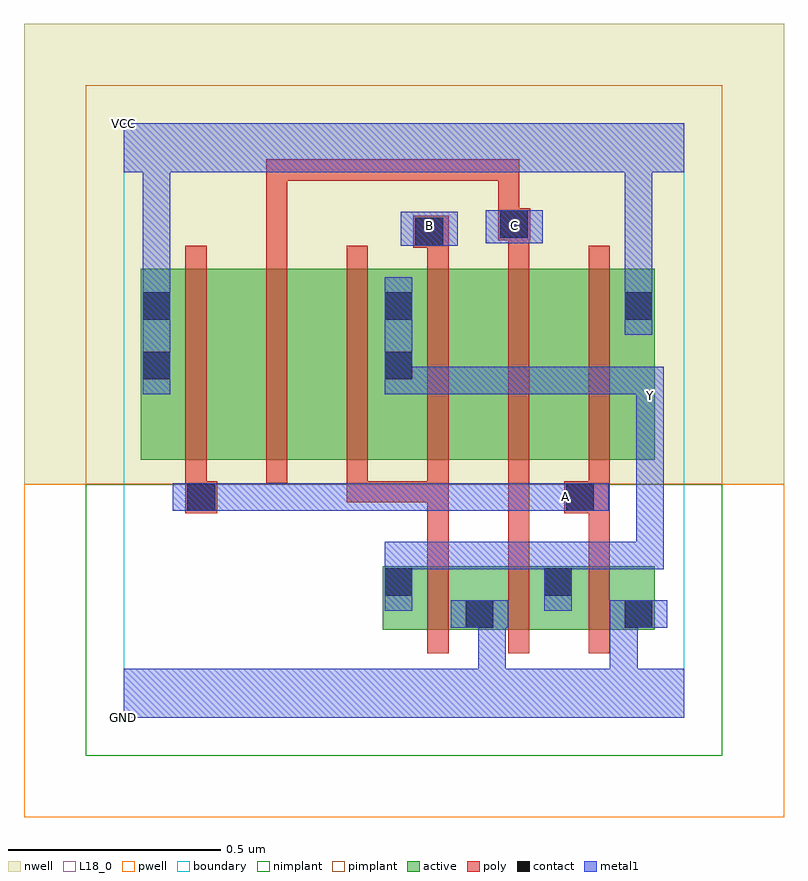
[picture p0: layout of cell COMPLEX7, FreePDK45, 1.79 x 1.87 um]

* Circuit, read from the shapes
.subckt COMPLEX7 A B C GND VCC Y
M1 GND B Y VSUBS nfet w=0.15u l=0.05u
M2 Y C GND VSUBS nfet w=0.15u l=0.05u
M3 GND A Y VSUBS nfet w=0.15u l=0.05u
M4 n1 A VCC n2 pfet w=0.45u l=0.05u
M5 n3 C n1 n2 pfet w=0.45u l=0.05u
M6 Y B n3 n2 pfet w=0.45u l=0.05u
M7 n4 B Y n2 pfet w=0.45u l=0.05u
M8 n5 C n4 n2 pfet w=0.45u l=0.05u
M9 VCC A n5 n2 pfet w=0.45u l=0.05u
.ends

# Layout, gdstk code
import gdstk
lib = gdstk.Library(unit=1e-6, precision=1e-09)
def R(c, l, rs):  # rectangles x0, y0, x1, y1
    for r in rs: c.add(gdstk.rectangle(r[:2], r[2:], *l))
def A(c, l, x, y, w, h, nx, ny, dx, dy):  # array of equal rectangles
    R(c, l, [(x+i*dx, y+j*dy, x+i*dx+w, y+j*dy+h) for i in range(nx) for j in range(ny)])
active = (1, 0)
pwell = (2, 0)
nwell = (3, 0)
nimplant = (4, 0)
pimplant = (5, 0)
poly = (9, 0)
contact = (10, 0)
metal1 = (11, 0)
L18_0 = (18, 0)
boundary = (235, 0)

complex7 = lib.new_cell('COMPLEX7')
R(complex7, active, [(0.61,0.207,0.685,0.357), (0.61,0.207,0.875,0.357), (0.8,0.207,0.875,0.357), (0.8,0.207,1.06,0.357), (0.985,0.207,1.06,0.357), (0.985,0.207,1.25,0.357), (1.175,0.207,1.25,0.357), (0.04,0.607,0.265,1.057), (0.04,0.607,0.115,1.055), (0.265,0.607,0.455,1.057), (0.455,0.607,0.685,1.057), (0.61,0.607,0.835,1.057), (0.835,0.607,1.025,1.057), (1.025,0.607,1.25,1.057), (1.175,0.625,1.25,1.057), (0.61,0.635,0.685,1.055)])
R(complex7, pwell, [(-0.235,-0.235,1.555,0.55)])
R(complex7, nwell, [(-0.235,0.55,1.555,1.635)])
R(complex7, nimplant, [(-0.09,-0.09,1.41,0.55)])
R(complex7, pimplant, [(-0.09,0.55,1.41,1.49)])
A(complex7, poly, 0.715, 0.152, 0.05, 0.26, 3, 1, 0.19, 0)
A(complex7, poly, 0.525, 0.507, 0.05, 0.095, 4, 1, 0.19, 0)
A(complex7, poly, 0.145, 0.552, 0.05, 0.56, 6, 1, 0.19, 0)
R(complex7, poly, [(0.715,0.362,0.765,0.557), (0.905,0.362,0.955,0.557), (1.095,0.362,1.145,0.532), (0.145,0.482,0.22,0.557), (1.037,0.482,1.145,0.557), (0.145,0.507,0.195,0.602), (0.525,0.507,0.575,0.557), (0.525,0.507,0.765,0.557), (0.715,0.507,0.765,0.557), (0.715,0.507,0.765,0.557), (0.715,0.507,0.765,0.557), (0.905,0.507,0.955,0.557), (0.335,1.062,0.385,1.315), (0.715,1.062,0.765,1.157), (0.905,1.062,0.955,1.175), (0.682,1.107,0.765,1.182), (0.882,1.125,0.957,1.2), (0.882,1.15,0.932,1.2), (0.882,1.15,0.932,1.2), (0.882,1.15,0.932,1.315), (0.335,1.265,0.385,1.315), (0.335,1.265,0.385,1.315), (0.335,1.265,0.385,1.315), (0.335,1.265,0.6,1.315), (0.55,1.265,0.6,1.315), (0.55,1.265,0.6,1.315), (0.55,1.265,0.6,1.315), (0.55,1.265,0.6,1.315), (0.55,1.265,0.6,1.315), (0.55,1.265,0.8,1.315), (0.75,1.265,0.8,1.315), (0.75,1.265,0.932,1.315), (0.882,1.265,0.932,1.315)])
R(complex7, contact, [(0.805,0.212,0.87,0.277), (1.18,0.212,1.245,0.277), (0.615,0.287,0.68,0.352), (0.99,0.287,1.055,0.352), (0.15,0.487,0.215,0.552), (1.042,0.487,1.107,0.552), (0.045,0.797,0.11,0.862), (0.615,0.797,0.68,0.862), (0.045,0.937,0.11,1.002), (0.615,0.937,0.68,1.002), (1.18,0.937,1.245,1.002), (0.687,1.112,0.752,1.177), (0.887,1.13,0.952,1.195)])
R(complex7, metal1, [(0,0,1.32,0.115), (0.835,0.05,0.9,0.277), (1.145,0.05,1.21,0.115), (1.145,0.05,1.21,0.115), (1.145,0.05,1.21,0.115), (1.145,0.05,1.21,0.115), (1.145,0.05,1.21,0.277), (0.77,0.212,0.905,0.277), (0.835,0.212,0.9,0.277), (0.835,0.212,0.9,0.277), (0.835,0.212,0.9,0.277), (0.835,0.212,0.9,0.277), (1.145,0.212,1.28,0.277), (0.615,0.252,0.68,0.387), (0.99,0.252,1.055,0.415), (0.615,0.322,0.68,0.387), (0.615,0.322,0.68,0.415), (0.615,0.35,0.835,0.415), (0.77,0.35,0.835,0.415), (0.77,0.35,0.835,0.415), (0.77,0.35,0.835,0.415), (0.77,0.35,1.055,0.415), (0.99,0.35,1.272,0.415), (1.207,0.35,1.272,0.415), (1.207,0.35,1.272,0.415), (1.207,0.35,1.272,0.415), (1.207,0.35,1.272,0.757), (0.115,0.487,0.25,0.552), (0.185,0.487,0.25,0.552), (0.185,0.487,0.25,0.552), (0.185,0.487,0.387,0.552), (0.322,0.487,0.387,0.552), (0.322,0.487,0.525,0.552), (0.46,0.487,0.525,0.552), (0.46,0.487,0.525,0.552), (0.46,0.487,0.525,0.552), (0.46,0.487,0.697,0.552), (0.632,0.487,0.697,0.552), (0.632,0.487,0.697,0.552), (0.632,0.487,0.697,0.552), (0.632,0.487,0.835,0.552), (0.77,0.487,0.835,0.552), (0.77,0.487,0.835,0.552), (0.77,0.487,0.835,0.552), (0.77,0.487,1.037,0.552), (0.972,0.487,1.037,0.552), (0.972,0.487,1.037,0.552), (0.972,0.487,1.142,0.552), (1.207,0.692,1.272,0.827), (0.045,0.762,0.11,1.037), (0.615,0.762,0.68,0.827), (0.615,0.762,0.68,0.827), (0.615,0.762,0.835,0.827), (0.615,0.762,0.68,1.037), (0.77,0.762,0.835,0.827), (0.77,0.762,0.835,0.827), (0.77,0.762,0.835,0.827), (0.77,0.762,1.042,0.827), (0.977,0.762,1.042,0.827), (0.977,0.762,1.272,0.827), (1.207,0.762,1.272,0.827), (1.207,0.762,1.272,0.827), (1.207,0.762,1.272,0.827), (1.207,0.762,1.272,0.827), (1.18,0.902,1.245,1.037), (0.045,0.972,0.11,1.35), (1.18,0.972,1.245,1.35), (1.18,0.972,1.245,1.037), (1.18,0.972,1.245,1.037), (0.652,1.112,0.787,1.192), (0.852,1.117,0.987,1.195), (0,1.285,1.32,1.4), (0.045,1.285,0.11,1.35), (0.045,1.285,0.11,1.35), (0.045,1.285,0.11,1.35), (0.045,1.285,0.11,1.35), (1.18,1.285,1.245,1.35), (1.18,1.285,1.245,1.35)])
R(complex7, L18_0, [(0,0,1.32,0.115), (0.835,0.05,0.9,0.277), (1.145,0.05,1.21,0.115), (1.145,0.05,1.21,0.115), (1.145,0.05,1.21,0.115), (1.145,0.05,1.21,0.115), (1.145,0.05,1.21,0.277), (0.77,0.212,0.905,0.277), (0.835,0.212,0.9,0.277), (0.835,0.212,0.9,0.277), (0.835,0.212,0.9,0.277), (0.835,0.212,0.9,0.277), (1.145,0.212,1.28,0.277), (0.615,0.252,0.68,0.387), (0.99,0.252,1.055,0.415), (0.615,0.322,0.68,0.387), (0.615,0.322,0.68,0.415), (0.615,0.35,0.835,0.415), (0.77,0.35,0.835,0.415), (0.77,0.35,0.835,0.415), (0.77,0.35,0.835,0.415), (0.77,0.35,1.055,0.415), (0.99,0.35,1.272,0.415), (1.207,0.35,1.272,0.415), (1.207,0.35,1.272,0.415), (1.207,0.35,1.272,0.415), (1.207,0.35,1.272,0.757), (0.115,0.487,0.25,0.552), (0.185,0.487,0.25,0.552), (0.185,0.487,0.25,0.552), (0.185,0.487,0.387,0.552), (0.322,0.487,0.387,0.552), (0.322,0.487,0.525,0.552), (0.46,0.487,0.525,0.552), (0.46,0.487,0.525,0.552), (0.46,0.487,0.525,0.552), (0.46,0.487,0.697,0.552), (0.632,0.487,0.697,0.552), (0.632,0.487,0.697,0.552), (0.632,0.487,0.697,0.552), (0.632,0.487,0.835,0.552), (0.77,0.487,0.835,0.552), (0.77,0.487,0.835,0.552), (0.77,0.487,0.835,0.552), (0.77,0.487,1.037,0.552), (0.972,0.487,1.037,0.552), (0.972,0.487,1.037,0.552), (0.972,0.487,1.142,0.552), (1.007,0.487,1.072,0.552), (1.207,0.692,1.272,0.827), (1.207,0.727,1.272,0.792), (0.045,0.762,0.11,1.037), (0.615,0.762,0.68,1.037), (0.615,0.762,0.68,0.827), (0.615,0.762,0.68,0.827), (0.615,0.762,0.835,0.827), (0.77,0.762,0.835,0.827), (0.77,0.762,0.835,0.827), (0.77,0.762,0.835,0.827), (0.77,0.762,1.042,0.827), (0.977,0.762,1.042,0.827), (0.977,0.762,1.272,0.827), (1.207,0.762,1.272,0.827), (1.207,0.762,1.272,0.827), (1.207,0.762,1.272,0.827), (1.207,0.762,1.272,0.827), (1.18,0.902,1.245,1.037), (0.045,0.972,0.11,1.35), (1.18,0.972,1.245,1.037), (1.18,0.972,1.245,1.037), (1.18,0.972,1.245,1.35), (0.652,1.112,0.787,1.192), (0.852,1.117,0.987,1.195), (0.687,1.127,0.752,1.192), (0.887,1.127,0.952,1.192), (0,1.285,1.32,1.4), (0.045,1.285,0.11,1.35), (0.045,1.285,0.11,1.35), (0.045,1.285,0.11,1.35), (0.045,1.285,0.11,1.35), (1.18,1.285,1.245,1.35), (1.18,1.285,1.245,1.35)])
R(complex7, boundary, [(0,0,1.32,1.4)])
complex7.add(gdstk.Label('A', (1.04,0.52), layer=11, texttype=0))
complex7.add(gdstk.Label('B', (0.72,1.16), layer=11, texttype=0))
complex7.add(gdstk.Label('C', (0.92,1.16), layer=11, texttype=0))
complex7.add(gdstk.Label('Y', (1.24,0.76), layer=11, texttype=0))
complex7.add(gdstk.Label('VCC', (0,1.4), layer=11, texttype=0))
complex7.add(gdstk.Label('GND', (0,0), layer=11, texttype=0))

lib.write_gds('COMPLEX7.gds')
